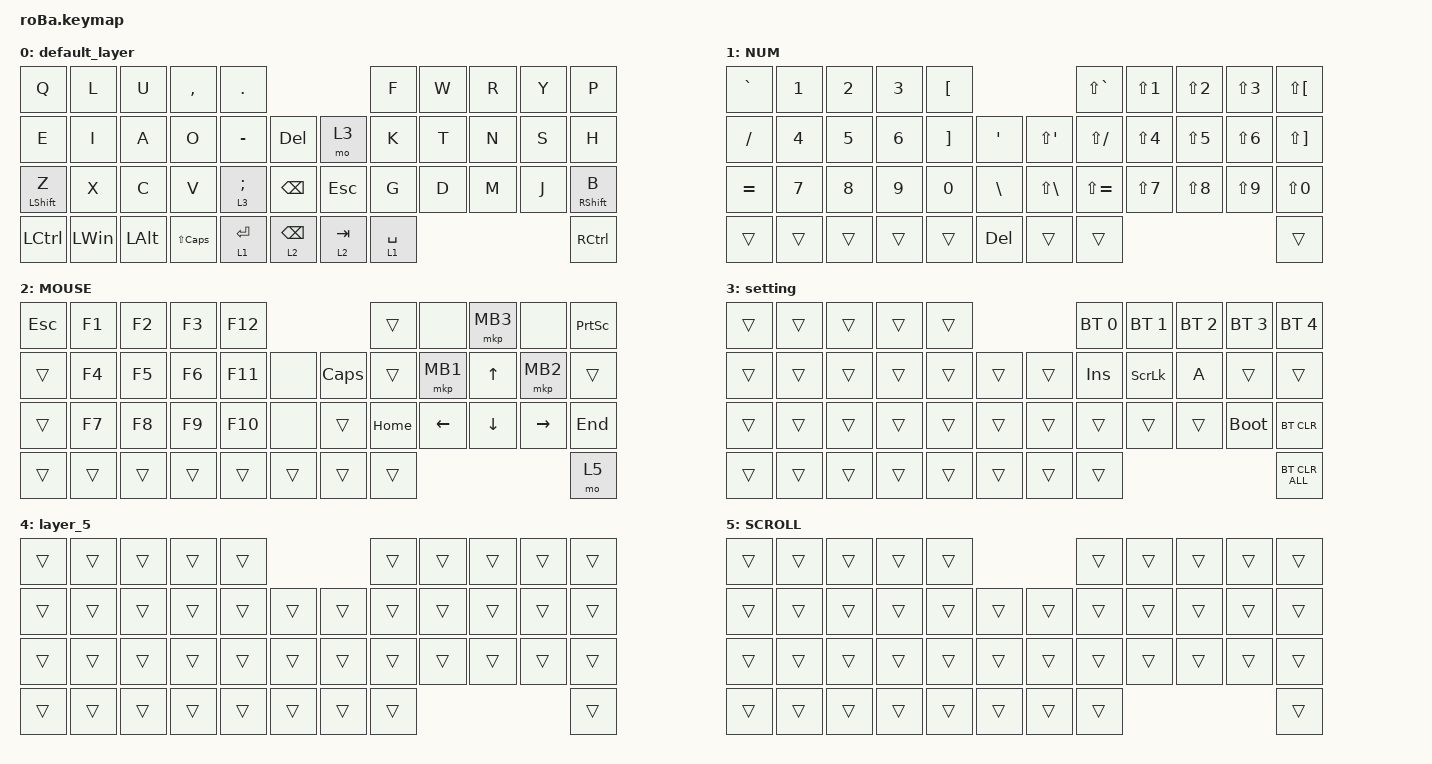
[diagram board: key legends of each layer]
#include <behaviors.dtsi>
#include <dt-bindings/zmk/bt.h>
#include <dt-bindings/zmk/keys.h>
#include <dt-bindings/zmk/pointing.h>

&mt {
    flavor = "balanced";
    quick-tap-ms = <0>;
};

&trackball {
    automouse-layer = <4>;
    scroll-layers = <5>;

    // arrows {
    //     layers = <3>;
    //     bindings =
    //         <&kp RIGHT_ARROW>,
    //         <&kp LEFT_ARROW>,
    //         <&kp UP_ARROW>,
    //         <&kp DOWN_ARROW>;
    //     tick = <10>;
    //     wait-ms = <5>;
    //     tap-ms = <5>;
    // };
};

/ {
    combos {
        compatible = "zmk,combos";

        tab {
            bindings = <&kp TAB>;
            key-positions = <11 12>;
        };

        shift_tab {
            bindings = <&kp LS(TAB)>;
            key-positions = <12 13>;
        };

        muhennkann {
            bindings = <&to_layer_0 INT_MUHENKAN>;
            key-positions = <11 10>;
        };

        double_quotation {
            bindings = <&kp DOUBLE_QUOTES>;
            key-positions = <20 21>;
        };

        eq {
            bindings = <&kp EQUAL>;
            key-positions = <24 25>;
        };
    };

    macros {
        to_layer_0: to_layer_0 {
            compatible = "zmk,behavior-macro-one-param";
            #binding-cells = <1>;
            bindings = <&to 0 &macro_param_1to1 &kp MACRO_PLACEHOLDER>;
            label = "TO_LAYER_0";
        };

        IME_TOGGLE: IME_TOGGLE {
            compatible = "zmk,behavior-macro";
            #binding-cells = <0>;
            bindings = <&kp LEFT_ALT>;
            label = "IME_TOGGLE";
        };
    };

    behaviors {
        lt_to_layer_0: lt_to_layer_0 {
            compatible = "zmk,behavior-hold-tap";
            label = "LAYER_TAP_TO_0";
            bindings = <&mo>, <&to_layer_0>;

            #binding-cells = <2>;
            tapping-term-ms = <200>;
        };
    };

    keymap {
        compatible = "zmk,keymap";

        default_layer {
            bindings = <
&kp Q             &kp L         &kp U         &kp COMMA     &kp PERIOD                                        &kp F        &kp W  &kp R  &kp Y  &kp P
&kp E             &kp I         &kp A         &kp O         &kp MINUS        &kp DELETE           &mo 3       &kp K        &kp T  &kp N  &kp S  &kp H
&mt LEFT_SHIFT Z  &kp X         &kp C         &kp V         &lt 3 SEMICOLON  &kp BACKSPACE        &kp ESCAPE  &kp G        &kp D  &kp M  &kp J  &mt RIGHT_SHIFT B
&kp LCTRL         &kp LEFT_WIN  &kp LEFT_ALT  &kp LS(CAPS)  &lt 1 ENTER      &lt 2 BACKSPACE      &lt 2 TAB   &lt 1 SPACE                       &kp RCTRL
            >;
        };

        NUM {
            bindings = <
&kp GRAVE  &kp NUMBER_1  &kp NUMBER_2  &kp NUMBER_3  &kp LEFT_BRACKET                                               &kp LS(GRAVE)  &kp LS(NUMBER_1)  &kp LS(NUMBER_2)  &kp LS(NUMBER_3)  &kp LS(LEFT_BRACKET)
&kp SLASH  &kp NUMBER_4  &kp NUMBER_5  &kp NUMBER_6  &kp RIGHT_BRACKET  &kp SINGLE_QUOTE      &kp LS(SINGLE_QUOTE)  &kp LS(SLASH)  &kp LS(NUMBER_4)  &kp LS(NUMBER_5)  &kp LS(NUMBER_6)  &kp LS(RIGHT_BRACKET)
&kp EQUAL  &kp NUMBER_7  &kp NUMBER_8  &kp NUMBER_9  &kp NUMBER_0       &kp BACKSLASH         &kp LS(BACKSLASH)     &kp LS(EQUAL)  &kp LS(NUMBER_7)  &kp LS(NUMBER_8)  &kp LS(NUMBER_9)  &kp LS(NUMBER_0)
&trans     &trans        &trans        &trans        &trans             &kp DELETE            &trans                &trans                                                               &trans
            >;
        };

        MOUSE {
            bindings = <
&kp ESCAPE  &kp F1  &kp F2  &kp F3  &kp F12                        &trans    &none           &mkp MB3        &none            &kp PRINTSCREEN
&trans      &kp F4  &kp F5  &kp F6  &kp F11  &none       &kp CAPS  &trans    &mkp MB1        &kp UP_ARROW    &mkp MB2         &trans
&trans      &kp F7  &kp F8  &kp F9  &kp F10  &none       &trans    &kp HOME  &kp LEFT_ARROW  &kp DOWN_ARROW  &kp RIGHT_ARROW  &kp END
&trans      &trans  &trans  &trans  &trans   &trans      &trans    &trans                                                     &mo 5
            >;
        };

        setting {
            bindings = <
&trans  &trans  &trans  &trans  &trans                      &bt BT_SEL 0  &bt BT_SEL 1    &bt BT_SEL 2  &bt BT_SEL 3  &bt BT_SEL 4
&trans  &trans  &trans  &trans  &trans  &trans      &trans  &kp INS       &kp SCROLLLOCK  &kp A         &trans        &trans
&trans  &trans  &trans  &trans  &trans  &trans      &trans  &trans        &trans          &trans        &bootloader   &bt BT_CLR
&trans  &trans  &trans  &trans  &trans  &trans      &trans  &trans                                                    &bt BT_CLR_ALL
            >;
        };

        layer_5 {
            bindings = <
&trans  &trans  &trans  &trans  &trans                      &trans  &trans  &trans  &trans  &trans
&trans  &trans  &trans  &trans  &trans  &trans      &trans  &trans  &trans  &trans  &trans  &trans
&trans  &trans  &trans  &trans  &trans  &trans      &trans  &trans  &trans  &trans  &trans  &trans
&trans  &trans  &trans  &trans  &trans  &trans      &trans  &trans                          &trans
            >;
        };

        SCROLL {
            bindings = <
&trans  &trans  &trans  &trans  &trans                      &trans  &trans  &trans  &trans  &trans
&trans  &trans  &trans  &trans  &trans  &trans      &trans  &trans  &trans  &trans  &trans  &trans
&trans  &trans  &trans  &trans  &trans  &trans      &trans  &trans  &trans  &trans  &trans  &trans
&trans  &trans  &trans  &trans  &trans  &trans      &trans  &trans                          &trans
            >;
        };
    };
};
